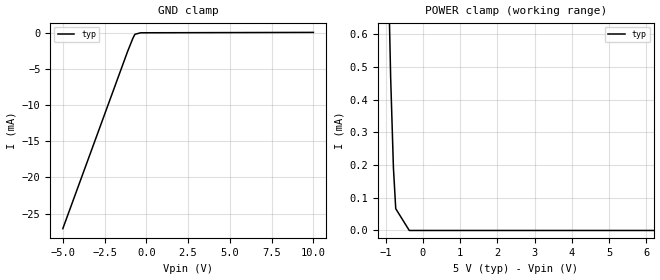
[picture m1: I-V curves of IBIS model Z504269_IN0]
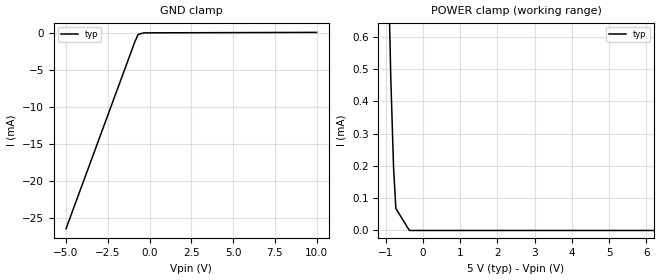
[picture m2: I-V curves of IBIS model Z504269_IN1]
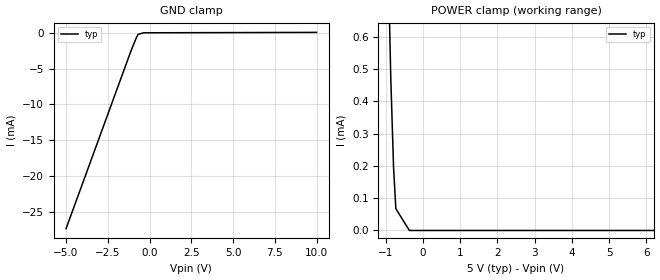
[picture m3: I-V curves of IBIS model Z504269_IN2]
| YOU ARE ONLY AUTHORIZED TO USE THIS SOFTWARE
| ACCORDING TO LICENSOR'S LICENSE RESTRICTIONS.
[IBIS Ver] 3.1
[File Name] mc74hc595ad.ibs
[File Rev] 2.0
[Source] Measured and created by ICX Technology
[Date] Friday 7/14/00 9:08:10 AM
[Copyright]
| (C) COPYRIGHT 1993-2000
| MENTOR GRAPHICS CORPORATION
| ICX STANDARD LIBRARY, ICX PROJECT MODELING,
| ICX CUSTOM MODELING, ICX VENDOR MODEL
| ALL RIGHTS RESERVED.
| THE FOLLOWING ARE TRADEMARKS OR SERVICE MARKS OF
| MENTOR GRAPHICS CORPORATION:ICX (R), ICX STANDARD
| LIBRARY(R), ICX PROJECT MODELING(R), ICX CUSTOM
| MODELING(R), qualityIBIS(TM), MODELVIEWER(TM),
| AND MODELEDITOR(TM)
| ALL COPIES OF SOFTWARE, INCLUDING BUT NOT LIMITED TO
| ANY MODIFICATIONS, ENHANCEMENTS OR DERIVATIVE WORKS,
| MUST CONTAIN ALL MENTOR GRAPHICS CORPORATION'S
| NOTICES AND LEGENDS, INCLUDING THOSE EMBEDDED IN
| SOFTWARE AND THOSE AFFIXED TO SOFTWARE MEDIUM
| AND CONTAINER, AS RECEIVED FROM MENTOR GRAPHICS
| CORPORATION.
|  ZAP Model Builder 2.7
[Component] MC74HC595AD
[Manufacturer] OnSemiconductor
[Package]
| variable   typ   min   max
R_pkg  .156ohms NA NA
L_pkg  3.148nH NA NA
C_pkg  .388pF NA NA
[Pin] signal_name  model_name  R_pin  L_pin C_pin
1 Q1 Z504269_TRI0 .162 3.798n .418p
2 Q2 Z504269_TRI0 .158 3.358n .398p
3 Q3 Z504269_TRI0 .154 2.928n .378p
4 Q4 Z504269_TRI0 .15 2.508n .358p
5 Q5 Z504269_TRI0 .15 2.508n .358p
6 Q6 Z504269_TRI0 .154 2.928n .378p
7 Q7 Z504269_TRI0 .158 3.358n .398p
8 GND GND .162 3.798n .418p
9 Q7_PRIME Z504269_OUT0 .162 3.798n .418p
10 _SRCLR Z504269_IN0 .158 3.358n .398p
11 SRCLK Z504269_IN1 .154 2.928n .378p
12 RCLK Z504269_IN2 .15 2.508n .358p
13 _G Z504269_IN3 .15 2.508n .358p
14 SER Z504269_IN4 .154 2.928n .378p
15 Q0 Z504269_TRI0 .158 3.358n .398p
16 VCC POWER .162 3.798n .418p
| Models and submodels in the file (7): Z504269_IN0 (Input), Z504269_IN1 (Input), Z504269_IN2 (Input), Z504269_IN3 (Input), Z504269_IN4 (Input), Z504269_OUT0 (Output), Z504269_TRI0 (3-state)
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| (C) COPYRIGHT 1993-2000
| MENTOR GRAPHICS CORPORATION
| ICX STANDARD LIBRARY, ICX PROJECT MODELING,
| ICX CUSTOM MODELING, ICX VENDOR MODEL
| ALL RIGHTS RESERVED.
| THE FOLLOWING ARE TRADEMARKS OR SERVICE MARKS OF
| MENTOR GRAPHICS CORPORATION:ICX (R), ICX STANDARD
| LIBRARY(R), ICX PROJECT MODELING(R), ICX CUSTOM
| MODELING(R), qualityIBIS(TM), MODELVIEWER(TM),
| AND MODELEDITOR(TM)
| ALL COPIES OF SOFTWARE, INCLUDING BUT NOT LIMITED TO
| ANY MODIFICATIONS, ENHANCEMENTS OR DERIVATIVE WORKS,
| MUST CONTAIN ALL MENTOR GRAPHICS CORPORATION'S
| NOTICES AND LEGENDS, INCLUDING THOSE EMBEDDED IN
| SOFTWARE AND THOSE AFFIXED TO SOFTWARE MEDIUM
| AND CONTAINER, AS RECEIVED FROM MENTOR GRAPHICS
| CORPORATION.
| Model Application Version 1.89 2/18/99.
[Model] Z504269_IN0
Model_type Input
Vinl = 1.000V
Vinh = 3.500V
C_comp 4.000pF NA NA
| variable typ   min   max
[Voltage Range] 5.000V NA NA
[GND Clamp Reference] 0.000V NA NA
[POWER Clamp Reference] 5.000V NA NA
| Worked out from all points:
|   POWER clamp passes 1 mA (typ) near -0.96 V on its own axis
[GND Clamp]
-5V       -27.08mA   NA         NA
-1.123V   -2.619mA   NA         NA
-800.5mV  -765.7uA   NA         NA
-683.6mV  -239.5uA   NA         NA
-341.8mV  -30.07uA   NA         NA
10V       23.17uA    NA         NA
[POWER Clamp]
-5V       27.06mA    NA         NA
-1.581V   4.747mA    NA         NA
-1.055V   1.478mA    NA         NA
-864mV    470.6uA    NA         NA
-789mV    191.4uA    NA         NA
-727mV    66.67uA    NA         NA
-363.5mV  0A         NA         NA
10V       0A         NA         NA
| (C) COPYRIGHT 1993-2000
| MENTOR GRAPHICS CORPORATION
| ICX STANDARD LIBRARY, ICX PROJECT MODELING,
| ICX CUSTOM MODELING, ICX VENDOR MODEL
| ALL RIGHTS RESERVED.
| THE FOLLOWING ARE TRADEMARKS OR SERVICE MARKS OF
| MENTOR GRAPHICS CORPORATION:ICX (R), ICX STANDARD
| LIBRARY(R), ICX PROJECT MODELING(R), ICX CUSTOM
| MODELING(R), qualityIBIS(TM), MODELVIEWER(TM),
| AND MODELEDITOR(TM)
| ALL COPIES OF SOFTWARE, INCLUDING BUT NOT LIMITED TO
| ANY MODIFICATIONS, ENHANCEMENTS OR DERIVATIVE WORKS,
| MUST CONTAIN ALL MENTOR GRAPHICS CORPORATION'S
| NOTICES AND LEGENDS, INCLUDING THOSE EMBEDDED IN
| SOFTWARE AND THOSE AFFIXED TO SOFTWARE MEDIUM
| AND CONTAINER, AS RECEIVED FROM MENTOR GRAPHICS
| CORPORATION.
| Model Application Version 1.89 2/18/99.
[Model] Z504269_IN1
Model_type Input
Vinl = 1.000V
Vinh = 3.500V
C_comp 4.000pF NA NA
| variable typ   min   max
[Voltage Range] 5.000V NA NA
[GND Clamp Reference] 0.000V NA NA
[POWER Clamp Reference] 5.000V NA NA
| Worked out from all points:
|   GND clamp passes 1 mA (typ) near -0.83 V on its own axis
|   POWER clamp passes 1 mA (typ) near -0.96 V on its own axis
[GND Clamp]
-5V       -26.47mA   NA         NA
-874mV    -1.207mA   NA         NA
-683.5mV  -252.6uA   NA         NA
-341.7mV  -34.16uA   NA         NA
10V       26.47uA    NA         NA
[POWER Clamp]
-5V       27.09mA    NA         NA
-1.43V    3.802mA    NA         NA
-1.055V   1.479mA    NA         NA
-864mV    476.2uA    NA         NA
-789mV    196.3uA    NA         NA
-727mV    68.06uA    NA         NA
-363.5mV  0A         NA         NA
10V       0A         NA         NA
| (C) COPYRIGHT 1993-2000
| MENTOR GRAPHICS CORPORATION
| ICX STANDARD LIBRARY, ICX PROJECT MODELING,
| ICX CUSTOM MODELING, ICX VENDOR MODEL
| ALL RIGHTS RESERVED.
| THE FOLLOWING ARE TRADEMARKS OR SERVICE MARKS OF
| MENTOR GRAPHICS CORPORATION:ICX (R), ICX STANDARD
| LIBRARY(R), ICX PROJECT MODELING(R), ICX CUSTOM
| MODELING(R), qualityIBIS(TM), MODELVIEWER(TM),
| AND MODELEDITOR(TM)
| ALL COPIES OF SOFTWARE, INCLUDING BUT NOT LIMITED TO
| ANY MODIFICATIONS, ENHANCEMENTS OR DERIVATIVE WORKS,
| MUST CONTAIN ALL MENTOR GRAPHICS CORPORATION'S
| NOTICES AND LEGENDS, INCLUDING THOSE EMBEDDED IN
| SOFTWARE AND THOSE AFFIXED TO SOFTWARE MEDIUM
| AND CONTAINER, AS RECEIVED FROM MENTOR GRAPHICS
| CORPORATION.
| Model Application Version 1.89 2/18/99.
[Model] Z504269_IN2
Model_type Input
Vinl = 1.000V
Vinh = 3.500V
C_comp 4.000pF NA NA
| variable typ   min   max
[Voltage Range] 5.000V NA NA
[GND Clamp Reference] 0.000V NA NA
[POWER Clamp Reference] 5.000V NA NA
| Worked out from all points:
|   POWER clamp passes 1 mA (typ) near -0.96 V on its own axis
[GND Clamp]
-5V       -27.29mA   NA         NA
-1.123V   -2.626mA   NA         NA
-800.2mV  -766.3uA   NA         NA
-683.6mV  -241.6uA   NA         NA
-341.8mV  -30.7uA    NA         NA
10V       24.74uA    NA         NA
[POWER Clamp]
-5V       27.34mA    NA         NA
-1.581V   4.756mA    NA         NA
-1.055V   1.475mA    NA         NA
-864mV    476.2uA    NA         NA
-789mV    196uA      NA         NA
-728mV    67.64uA    NA         NA
-364mV    0A         NA         NA
10V       0A         NA         NA
